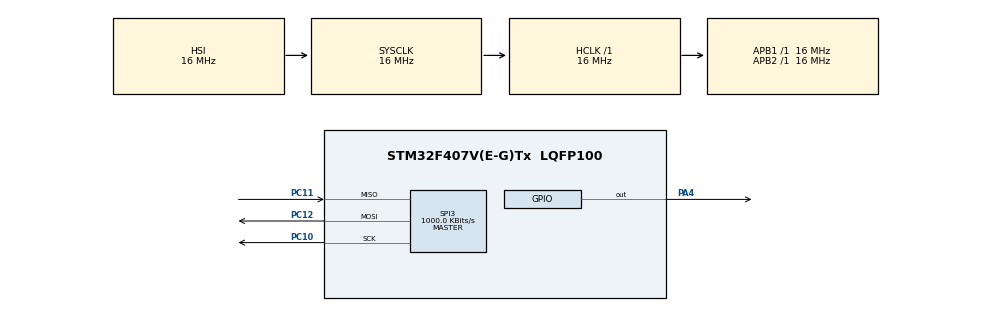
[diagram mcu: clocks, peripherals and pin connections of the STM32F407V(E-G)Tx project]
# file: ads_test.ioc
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Mcu.Family=STM32F4
Mcu.Name=STM32F407V(E-G)Tx
Mcu.Package=LQFP100
NVIC.PriorityGroup=NVIC_PRIORITYGROUP_4
NVIC.SPI3_IRQn=true\:0\:0\:false\:false\:true\:true\:true
PA4.GPIO_Speed=GPIO_SPEED_FREQ_VERY_HIGH
PA4.Signal=GPIO_Output
PC10.Mode=Full_Duplex_Master
PC10.Signal=SPI3_SCK
PC11.Mode=Full_Duplex_Master
PC11.Signal=SPI3_MISO
PC12.Mode=Full_Duplex_Master
PC12.Signal=SPI3_MOSI
ProjectManager.HeapSize=0x200
ProjectManager.StackSize=0x400
ProjectManager.TargetToolchain=STM32CubeIDE
RCC.AHBFreq_Value=16000000
RCC.APB1Freq_Value=16000000
RCC.APB2Freq_Value=16000000
RCC.CortexFreq_Value=16000000
RCC.HSE_VALUE=25000000
RCC.HSI_VALUE=16000000
RCC.LSE_VALUE=32768
RCC.SYSCLKFreq_VALUE=16000000
RCC.VCOOutputFreq_Value=192000000
SPI3.BaudRatePrescaler=SPI_BAUDRATEPRESCALER_16
SPI3.CalculateBaudRate=1000.0 KBits/s
SPI3.Direction=SPI_DIRECTION_2LINES
SPI3.Mode=SPI_MODE_MASTER
SPI3.VirtualType=VM_MASTER
board=custom

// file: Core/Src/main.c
/* USER CODE BEGIN Header */
/**
  ******************************************************************************
  * @file           : main.c
  * @brief          : Main program body
  ******************************************************************************
  * @attention
  *
  * <h2><center>&copy; Copyright (c) 2021 STMicroelectronics.
  * All rights reserved.</center></h2>
  *
  * This software component is licensed by ST under BSD 3-Clause license,
  * the "License"; You may not use this file except in compliance with the
  * License. You may obtain a copy of the License at:
  *                        opensource.org/licenses/BSD-3-Clause
  *
  ******************************************************************************
  */
/* USER CODE END Header */
#include "main.h"

/* USER CODE BEGIN PD */
#define ADC_CH0_MASK 0b10010111		//0b10010111
#define ADC_CH1_MASK 0b11010111
#define ADC_CH2_MASK 0b10100111
#define ADC_CH3_MASK 0b11100111
/* USER CODE END PD */

SPI_HandleTypeDef hspi3;

void SystemClock_Config(void);
static void MX_GPIO_Init(void);
static void MX_SPI3_Init(void);

/* USER CODE BEGIN 0 */
uint8_t pTxData[1]= {ADC_CH0_MASK};
uint8_t pRxData[2]= {0, 0};

/* USER CODE END 0 */

int main(void)
{

  /* MCU Configuration--------------------------------------------------------*/

  /* Reset of all peripherals, Initializes the Flash interface and the Systick. */
  HAL_Init();

  /* Configure the system clock */
  SystemClock_Config();

  /* Initialize all configured peripherals */
  MX_GPIO_Init();
  MX_SPI3_Init();
  /* USER CODE BEGIN 2 */

//  uint8_t *pTxData, uint8_t *pRxData, uint16_t Size,                                            uint32_t Timeout)
  uint32_t Timeout = HAL_MAX_DELAY;

//  HAL_SPI_TransmitReceive(&hspi3, pTxData, pRxData, Size, Timeout);
//    HAL_SPI_TransmitReceive_IT(&hspi3, pTxData, pRxData, 4); //(&hspi3, pRxData, 2);

  	  HAL_GPIO_WritePin(GPIOA, GPIO_PIN_4, SET);

//    HAL_SPI_Transmit(&hspi3, pTxData, 1, Timeout);
//  HAL_SPI_Transmit_IT(&hspi3, pTxData, 1);

//    HAL_SPI_Receive(&hspi3, pRxData, 2, Timeout);
    pRxData[0] = pRxData[0] & 0x7F;
    pRxData[1] = pRxData[1] >> 3;

    uint16_t tuvi = (((uint16_t)pRxData[0]) << 5) | pRxData[1];

//  HAL_SPI_Transmit_IT(hspi, pData, Size)

  /* USER CODE END 2 */

  /* Infinite loop */
  while (1)
  {
	  HAL_GPIO_WritePin(GPIOA, GPIO_PIN_4, RESET);
	    pTxData[0]=ADC_CH2_MASK;
	    HAL_SPI_Transmit(&hspi3, pTxData, 1, Timeout);
	//  HAL_SPI_Transmit_IT(&hspi3, pTxData, 1);

	    HAL_SPI_Receive(&hspi3, pRxData, 2, Timeout);
	    HAL_GPIO_WritePin(GPIOA, GPIO_PIN_4, SET);
	    pRxData[0] = pRxData[0] & 0x7F;
	    pRxData[1] = pRxData[1] >> 3;

	     tuvi = (((uint16_t)pRxData[0]) << 5) | pRxData[1];

	     HAL_GPIO_WritePin(GPIOA, GPIO_PIN_4, RESET);
		    pTxData[0]=ADC_CH3_MASK;
		    HAL_SPI_Transmit(&hspi3, pTxData, 1, Timeout);
		//  HAL_SPI_Transmit_IT(&hspi3, pTxData, 1);

		    HAL_SPI_Receive(&hspi3, pRxData, 2, Timeout);
		    HAL_GPIO_WritePin(GPIOA, GPIO_PIN_4, SET);
		    pRxData[0] = pRxData[0] & 0x7F;
		    pRxData[1] = pRxData[1] >> 3;

		     tuvi = (((uint16_t)pRxData[0]) << 5) | pRxData[1];

		     int a =5;

  }
}

void SystemClock_Config(void)
{
  RCC_OscInitTypeDef RCC_OscInitStruct = {0};
  RCC_ClkInitTypeDef RCC_ClkInitStruct = {0};

  /** Configure the main internal regulator output voltage
  */
  __HAL_RCC_PWR_CLK_ENABLE();
  __HAL_PWR_VOLTAGESCALING_CONFIG(PWR_REGULATOR_VOLTAGE_SCALE1);
  /** Initializes the RCC Oscillators according to the specified parameters
  * in the RCC_OscInitTypeDef structure.
  */
  RCC_OscInitStruct.OscillatorType = RCC_OSCILLATORTYPE_HSI;
  RCC_OscInitStruct.HSIState = RCC_HSI_ON;
  RCC_OscInitStruct.HSICalibrationValue = RCC_HSICALIBRATION_DEFAULT;
  RCC_OscInitStruct.PLL.PLLState = RCC_PLL_NONE;
  if (HAL_RCC_OscConfig(&RCC_OscInitStruct) != HAL_OK)
  {
    Error_Handler();
  }
  /** Initializes the CPU, AHB and APB buses clocks
  */
  RCC_ClkInitStruct.ClockType = RCC_CLOCKTYPE_HCLK|RCC_CLOCKTYPE_SYSCLK
                              |RCC_CLOCKTYPE_PCLK1|RCC_CLOCKTYPE_PCLK2;
  RCC_ClkInitStruct.SYSCLKSource = RCC_SYSCLKSOURCE_HSI;
  RCC_ClkInitStruct.AHBCLKDivider = RCC_SYSCLK_DIV1;
  RCC_ClkInitStruct.APB1CLKDivider = RCC_HCLK_DIV1;
  RCC_ClkInitStruct.APB2CLKDivider = RCC_HCLK_DIV1;

  if (HAL_RCC_ClockConfig(&RCC_ClkInitStruct, FLASH_LATENCY_0) != HAL_OK)
  {
    Error_Handler();
  }
}

static void MX_SPI3_Init(void)
{

  /* SPI3 parameter configuration*/
  hspi3.Instance = SPI3;
  hspi3.Init.Mode = SPI_MODE_MASTER;
  hspi3.Init.Direction = SPI_DIRECTION_2LINES;
  hspi3.Init.DataSize = SPI_DATASIZE_8BIT;
  hspi3.Init.CLKPolarity = SPI_POLARITY_LOW;
  hspi3.Init.CLKPhase = SPI_PHASE_1EDGE;
  hspi3.Init.NSS = SPI_NSS_SOFT;
  hspi3.Init.BaudRatePrescaler = SPI_BAUDRATEPRESCALER_16;
  hspi3.Init.FirstBit = SPI_FIRSTBIT_MSB;
  hspi3.Init.TIMode = SPI_TIMODE_DISABLE;
  hspi3.Init.CRCCalculation = SPI_CRCCALCULATION_DISABLE;
  hspi3.Init.CRCPolynomial = 10;
  if (HAL_SPI_Init(&hspi3) != HAL_OK)
  {
    Error_Handler();
  }

}

static void MX_GPIO_Init(void)
{
  GPIO_InitTypeDef GPIO_InitStruct = {0};

  /* GPIO Ports Clock Enable */
  __HAL_RCC_GPIOA_CLK_ENABLE();
  __HAL_RCC_GPIOC_CLK_ENABLE();

  /*Configure GPIO pin Output Level */
  HAL_GPIO_WritePin(GPIOA, GPIO_PIN_4, GPIO_PIN_RESET);

  /*Configure GPIO pin : PA4 */
  GPIO_InitStruct.Pin = GPIO_PIN_4;
  GPIO_InitStruct.Mode = GPIO_MODE_OUTPUT_PP;
  GPIO_InitStruct.Pull = GPIO_NOPULL;
  GPIO_InitStruct.Speed = GPIO_SPEED_FREQ_VERY_HIGH;
  HAL_GPIO_Init(GPIOA, &GPIO_InitStruct);

}

/* USER CODE BEGIN 4 */

void HAL_SPI_TxRxCpltCallback(SPI_HandleTypeDef *hspi){

	 uint16_t tuvi = ((uint16_t)pRxData[0]) << 4 | ((uint16_t)pRxData[1]) >> 4;
}

void HAL_SPI_RxCpltCallback(SPI_HandleTypeDef *hspi){
  uint16_t tuvi = ((uint16_t)pRxData[0]) << 4 | ((uint16_t)pRxData[1]) >> 4;
}
/* USER CODE END 4 */

void Error_Handler(void)
{
  __disable_irq();
  while (1)
  {
  }
}

/************************ (C) COPYRIGHT STMicroelectronics *****END OF FILE****/
